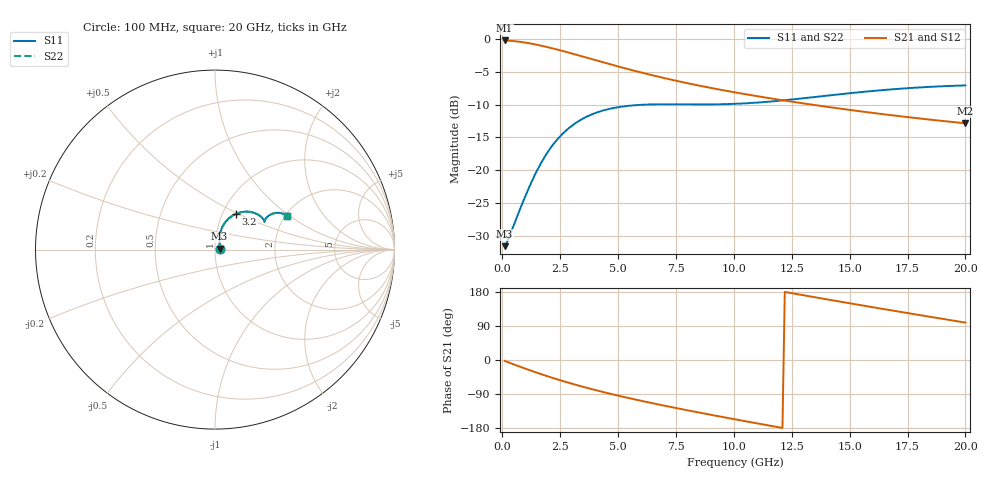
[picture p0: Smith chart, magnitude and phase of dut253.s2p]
! Touchstone file exported from HFSS 2024.1.0
!  File:  C:/UserFiles/LocalFiles/RDL_TSV_Batchsim/temp_RDL_TSV_253_1779457447.aedt
!  Generated:  10:03:49 PM May 22, 2026
!  Design:  RDL_TSV
!  Project:  temp_RDL_TSV_253_1779457447
!  Setup:  Setup1
!  Solution:  Sweep
! Variables:
!  dtsv = 9.83um
!  hbump = 3um
!  htsv = 97.37um
!  ldown = 290.92um
!  lrdl = 664.15um
!  p = 40
!  p1 = 59.02um
!  rhole = 10um
!  subl = 3529.36um
!  t = 450um
!  tdown = 2.56um
!  trdl = 2.82um
!  viad = 10um
!  wdown = 16.11um
!  wrdl = 17.27um
!  xbump = 18um
# GHz S MA R 50.000000
! Terminal data exported
! Port[1] = TM1_1_T1
! Port[2] = TM1_4_T1
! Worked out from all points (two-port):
!   200 points, 100 MHz to 20 GHz, reference 50 ohm
!   highest |S21| = -0.25 dB at 100 MHz (marker M1); lowest = -12.9 dB at 20 GHz (marker M2)
!   |S21| within 3 dB of the highest: start of sweep to 4.027 GHz
!   lowest |S11| = -31.6 dB at 100 MHz (marker M3), VSWR 1.05, Z = 52.6 + j0.601 ohm
!   |S11| at or under -10 dB: start of sweep to 6.286 GHz
!   |S22| runs from -31.6 to -7.1 dB; largest |S21 - S12| = 9.8e-14
!   S11 on the Smith chart (normalised r, x): 100 MHz: 1.05, +0.01; 3.2 GHz: 1.16, +0.49; 20 GHz: 2.03, +0.96
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0.1  0.02642 12.5  0.9717 -2.4  0.9717 -2.4  0.02634 12.3
! Gamma 0 0 0 0
! Port Impedance 50 0 50 0
0.3  0.03112 33.0  0.9675 -7.1  0.9675 -7.1  0.03091 32.8
0.8  0.05235 60.2  0.9471 -18.5  0.9471 -18.5  0.05185 60.3
1.2  0.07695 69.7  0.9227 -27.3  0.9227 -27.3  0.07634 69.9
1.6  0.1074 72.6  0.8932 -35.8  0.8932 -35.8  0.1068 72.8
1.9  0.1322 71.9  0.8689 -41.8  0.8689 -41.8  0.1316 72.2
2.3  0.1654 69.1  0.8348 -49.6  0.8348 -49.6  0.1648 69.3
2.7  0.1966 65.1  0.7999 -57.1  0.7999 -57.1  0.196 65.3
3.2  0.2306 59.6  0.7564 -65.9  0.7564 -65.9  0.23 59.7
3.5  0.248 56.3  0.7309 -71.0  0.7309 -71.0  0.2474 56.4
4.3  0.2829 48.2  0.6667 -83.7  0.6667 -83.7  0.2823 48.3
5.1  0.3036 41.6  0.6095 -95.5  0.6095 -95.5  0.3029 41.7
5.9  0.3139 36.6  0.5596 -106.4  0.5596 -106.4  0.3131 36.6
6.8  0.3176 32.7  0.5117 -118.1  0.5117 -118.1  0.3168 32.7
8.3  0.3169 29.7  0.4477 -136.3  0.4477 -136.3  0.3159 29.7
10.1  0.3203 30.0  0.3897 -157.1  0.3897 -157.1  0.3194 30.1
11.6  0.3334 31.4  0.3518 -173.8  0.3518 -173.8  0.3325 31.5
13.4  0.3592 32.2  0.3149 166.6  0.3149 166.6  0.3584 32.3
15  0.3855 31.6  0.2877 149.7  0.2877 149.7  0.3848 31.7
16.7  0.411 29.9  0.2635 132.0  0.2635 132.0  0.4104 29.9
18.3  0.4295 27.7  0.2445 115.7  0.2445 115.7  0.4289 27.7
20  0.4422 25.3  0.2277 98.7  0.2277 98.7  0.4415 25.4
